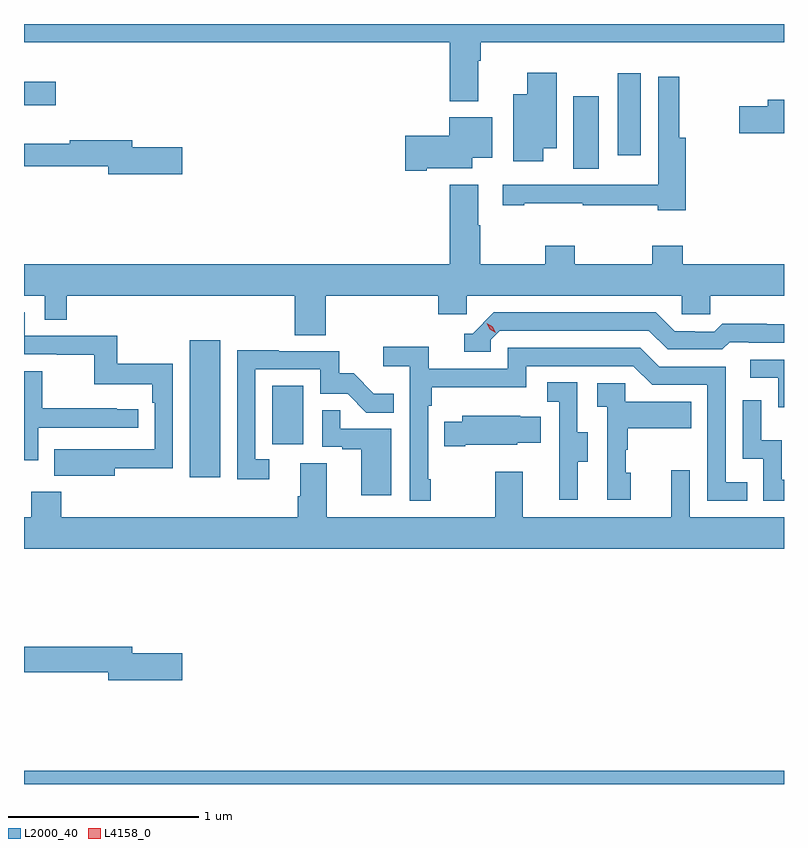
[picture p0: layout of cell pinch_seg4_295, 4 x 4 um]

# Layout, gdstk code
import gdstk
lib = gdstk.Library(unit=1e-6, precision=1e-09)
def R(c, l, rs):  # rectangles x0, y0, x1, y1
    for r in rs: c.add(gdstk.rectangle(r[:2], r[2:], *l))
def P(c, l, *ps):  # polygons
    for p in ps: c.add(gdstk.Polygon(p, *l))
L2000_40 = (2000, 40)
L4158_0 = (4158, 0)

pinch_seg4_295 = lib.new_cell('pinch_seg4_295')
R(pinch_seg4_295, L2000_40, [(950.559,802.241,954.559,802.312), (951.431,803.856,951.592,804.577), (951.866,804.03,952.03,804.337), (953.45,805.48,953.584,805.861), (953.684,805.551,953.806,805.981), (950.559,805.814,950.725,805.936)])
P(pinch_seg4_295, L2000_40, [(952.951,806.048),(952.964,806.048),(952.964,806.144),(954.559,806.144),(954.559,806.241),(950.559,806.241),(950.559,806.144),(952.799,806.144),(952.799,805.835),(952.951,805.835)],
  [(953.293,805.586),(953.362,805.586),(953.362,805.984),(953.207,805.984),(953.207,805.87),(953.135,805.87),(953.135,805.518),(953.293,805.518)],
  [(954.041,805.642),(954.007,805.642),(954.007,805.963),(953.898,805.963),(953.898,805.396),(953.688,805.396),(953.688,805.395),(953.079,805.395),(953.079,805.287),(953.191,805.287),(953.191,805.297),(953.501,805.297),(953.501,805.287),(953.894,805.287),(953.894,805.262),(954.041,805.262)],
  [(954.559,805.843),(954.473,805.843),(954.473,805.809),(954.324,805.809),(954.324,805.667),(954.559,805.667)],
  [(952.678,805.481),(952.918,805.481),(952.918,805.538),(953.023,805.538),(953.023,805.75),(952.796,805.75),(952.796,805.652),(952.566,805.652),(952.566,805.469),(952.678,805.469)],
  [(951.391,805.592),(951.13,805.592),(951.13,805.628),(950.799,805.628),(950.799,805.61),(950.559,805.61),(950.559,805.492),(951.002,805.492),(951.002,805.45),(951.391,805.45)],
  [(952.148,804.812),(952.739,804.812),(952.739,804.714),(952.89,804.714),(952.89,804.812),(954.021,804.812),(954.021,804.714),(954.171,804.714),(954.171,804.812),(954.559,804.812),(954.559,804.976),(954.026,804.976),(954.026,805.075),(953.866,805.075),(953.866,804.976),(953.457,804.976),(953.457,805.075),(953.302,805.075),(953.302,804.976),(952.959,804.976),(952.959,805.181),(952.951,805.181),(952.951,805.396),(952.799,805.396),(952.799,804.976),(950.559,804.976),(950.559,804.812),(950.667,804.812),(950.667,804.685),(950.783,804.685),(950.783,804.812),(951.983,804.812),(951.983,804.604),(952.148,804.604)],
  [(953.016,804.579),(953.064,804.627),(953.847,804.627),(953.946,804.528),(954.235,804.528),(954.274,804.567),(954.373,804.567),(954.373,804.564),(954.559,804.564),(954.559,804.661),(954.468,804.661),(954.468,804.664),(954.235,804.664),(954.193,804.621),(954.09,804.621),(954.09,804.624),(953.983,804.624),(953.884,804.723),(953.031,804.723),(952.92,804.612),(952.877,804.612),(952.877,804.516),(953.016,804.516)],
  [(951.037,803.902),(951.342,803.902),(951.342,804.454),(951.049,804.454),(951.049,804.6),(950.562,804.6),(950.562,804.723),(950.559,804.723),(950.559,804.504),(950.731,804.504),(950.731,804.499),(950.928,804.499),(950.928,804.344),(951.233,804.344),(951.233,804.248),(951.246,804.248),(951.246,804.003),(950.933,804.003),(950.933,804.004),(950.719,804.004),(950.719,803.864),(951.037,803.864)],
  [(952.699,803.845),(952.686,803.845),(952.686,804.233),(952.706,804.233),(952.706,804.329),(953.202,804.329),(953.202,804.441),(953.766,804.441),(953.865,804.342),(954.156,804.342),(954.156,803.733),(954.365,803.733),(954.365,803.829),(954.252,803.829),(954.252,804.438),(953.902,804.438),(953.803,804.537),(953.106,804.537),(953.106,804.426),(952.688,804.426),(952.688,804.542),(952.449,804.542),(952.449,804.44),(952.59,804.44),(952.59,803.733),(952.699,803.733)],
  [(951.85,803.949),(951.777,803.949),(951.777,804.423),(952.119,804.423),(952.119,804.294),(952.263,804.294),(952.361,804.196),(952.505,804.196),(952.505,804.295),(952.401,804.295),(952.294,804.402),(952.218,804.402),(952.218,804.519),(951.899,804.519),(951.899,804.524),(951.681,804.524),(951.681,803.844),(951.85,803.844)],
  [(954.559,804.474),(954.381,804.474),(954.381,804.378),(954.528,804.378),(954.528,804.225),(954.559,804.225)],
  [(950.634,804.117),(951.16,804.117),(951.16,804.213),(951.047,804.213),(951.047,804.218),(950.654,804.218),(950.654,804.414),(950.559,804.414),(950.559,803.945),(950.634,803.945)],
  [(953.473,803.938),(953.527,803.938),(953.527,804.093),(953.472,804.093),(953.472,804.356),(953.313,804.356),(953.313,804.253),(953.376,804.253),(953.376,803.949),(953.375,803.949),(953.375,803.736),(953.473,803.736)],
  [(953.752,803.88),(953.727,803.88),(953.727,803.999),(953.737,803.999),(953.737,804.113),(954.071,804.113),(954.071,804.253),(953.724,804.253),(953.724,804.351),(953.577,804.351),(953.577,804.227),(953.628,804.227),(953.628,803.736),(953.752,803.736)],
  [(954.559,803.842),(954.548,803.842),(954.548,804.05),(954.438,804.05),(954.438,804.262),(954.342,804.262),(954.342,803.952),(954.45,803.952),(954.45,803.733),(954.559,803.733)],
  [(952.492,804.111),(952.223,804.111),(952.223,804.209),(952.128,804.209),(952.128,804.015),(952.235,804.015),(952.235,804.003),(952.334,804.003),(952.334,803.76),(952.492,803.76)],
  [(952.882,804.026),(953.154,804.026),(953.154,804.038),(953.279,804.038),(953.279,804.175),(953.171,804.175),(953.171,804.178),(952.865,804.178),(952.865,804.148),(952.771,804.148),(952.771,804.019),(952.882,804.019)],
  [(954.559,803.644),(954.063,803.644),(954.063,803.893),(953.966,803.893),(953.966,803.644),(953.185,803.644),(953.185,803.884),(953.038,803.884),(953.038,803.644),(952.153,803.644),(952.153,803.93),(952.013,803.93),(952.013,803.756),(952.001,803.756),(952.001,803.644),(950.756,803.644),(950.756,803.779),(950.596,803.779),(950.596,803.644),(950.559,803.644),(950.559,803.48),(954.559,803.48)],
  [(951.391,802.928),(951.13,802.928),(951.13,802.964),(950.559,802.964),(950.559,802.828),(951.002,802.828),(951.002,802.786),(951.391,802.786)])
P(pinch_seg4_295, L4158_0, [(953.041,804.615),(953.011,804.634),(952.995,804.667),(952.995,804.667),(952.995,804.667),(953.026,804.648),(953.042,804.615),(953.042,804.615)])

lib.write_gds('pinch_seg4_295.gds')
